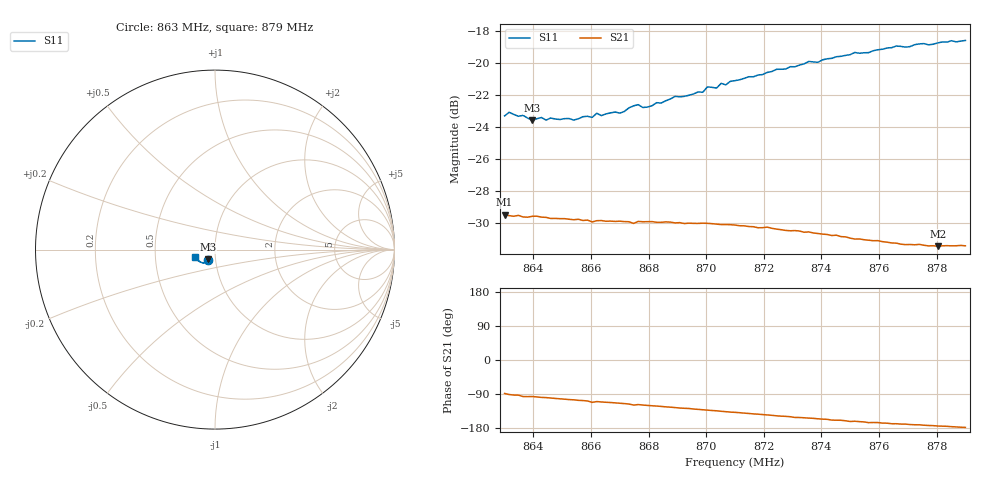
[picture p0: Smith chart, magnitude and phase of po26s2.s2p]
# HZ S RI R 50
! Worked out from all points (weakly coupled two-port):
!   101 points, 863 MHz to 879 MHz, reference 50 ohm
!   highest |S21| = -29.45 dB at 863 MHz (marker M1); lowest = -31.4 dB at 878.04 MHz (marker M2)
!   lowest |S11| = -23.6 dB at 863.96 MHz (marker M3), VSWR 1.14, Z = 46 - j4.96 ohm
!   |S11| at or under -10 dB: start of sweep to end of sweep
!   S12 and S22 are empty: the file has one direction only
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8.63e8  -0.0399 -0.0555  0.00102 -0.0337  0 0  0 0
8.6316e8  -0.0446 -0.0542  -0.000687 -0.0334  0 0  0 0
8.6396e8  -0.0388 -0.0537  -0.00366 -0.0331  0 0  0 0
8.6428e8  -0.039 -0.0552  -0.00501 -0.0327  0 0  0 0
8.6444e8  -0.0394 -0.0534  -0.00528 -0.0326  0 0  0 0
8.654e8  -0.0353 -0.0562  -0.0085 -0.0314  0 0  0 0
8.6572e8  -0.0351 -0.0582  -0.00947 -0.0309  0 0  0 0
8.67e8  -0.0349 -0.0604  -0.0131 -0.0293  0 0  0 0
8.6764e8  -0.0365 -0.0645  -0.0149 -0.0284  0 0  0 0
8.678e8  -0.0359 -0.0631  -0.0155 -0.028  0 0  0 0
8.6844e8  -0.0364 -0.0656  -0.0171 -0.0269  0 0  0 0
8.6892e8  -0.039 -0.0683  -0.0185 -0.0258  0 0  0 0
8.6988e8  -0.0412 -0.0697  -0.0209 -0.0238  0 0  0 0
8.7004e8  -0.0438 -0.0719  -0.0213 -0.0234  0 0  0 0
8.7036e8  -0.0436 -0.0712  -0.0219 -0.0226  0 0  0 0
8.7052e8  -0.0462 -0.0729  -0.0223 -0.0221  0 0  0 0
8.7068e8  -0.0451 -0.0725  -0.0227 -0.0217  0 0  0 0
8.71e8  -0.0487 -0.0733  -0.0233 -0.0209  0 0  0 0
8.7372e8  -0.0676 -0.0746  -0.0265 -0.013  0 0  0 0
8.7644e8  -0.0931 -0.0614  -0.0269 -0.00563  0 0  0 0
8.7804e8  -0.1044 -0.0491  -0.0267 -0.00269  0 0  0 0
8.79e8  -0.1106 -0.0393  -0.0269 -0.00103  0 0  0 0
